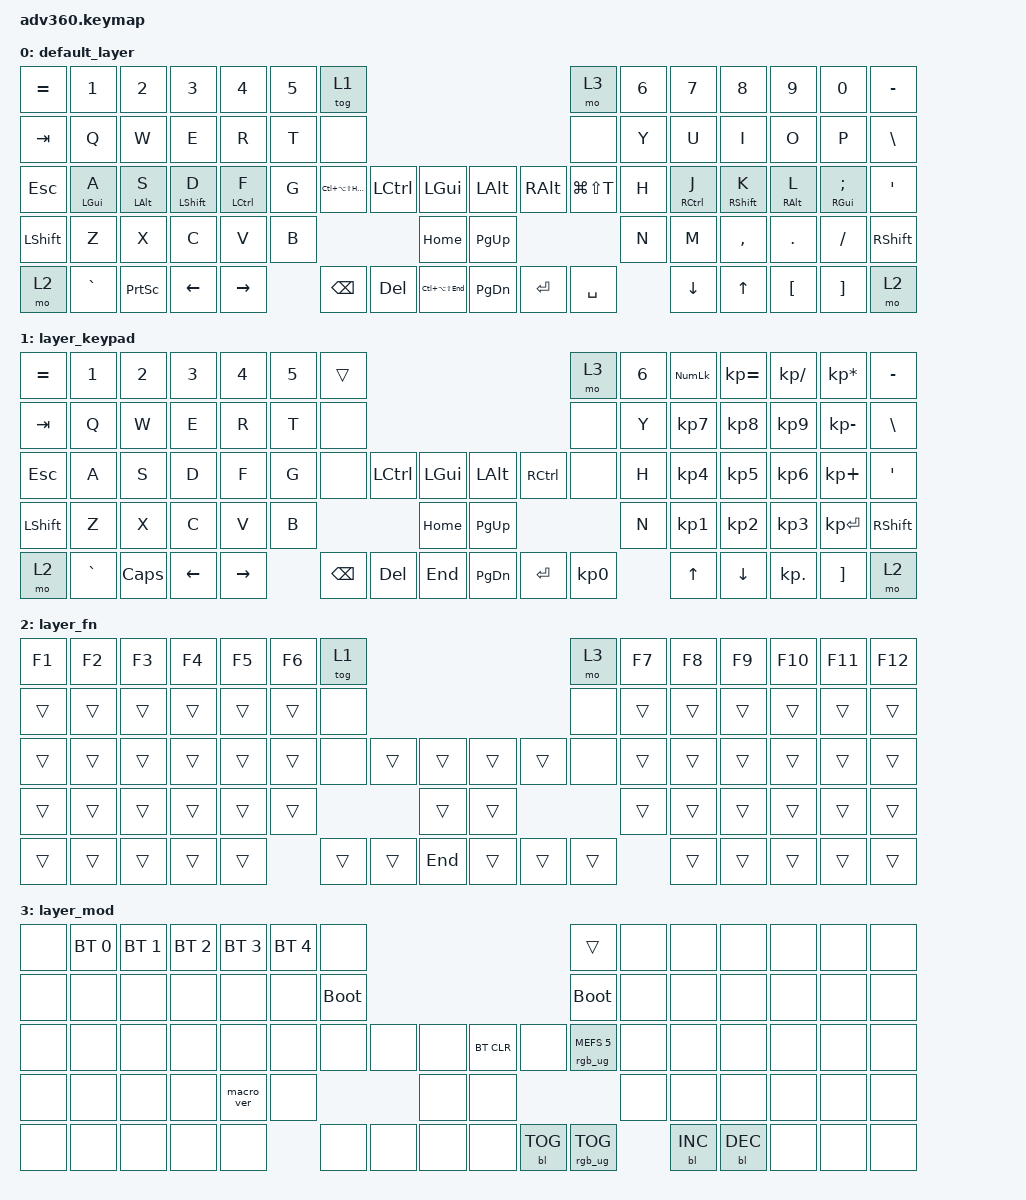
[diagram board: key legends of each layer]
/*
 * Copyright (c) 2020 The ZMK Contributors
 *
 * SPDX-License-Identifier: MIT
 */
/* THIS FILE WAS GENERATED!
 *
 * This file was generated automatically. You may or may not want to
 * edit it directly.
 */

#include <behaviors.dtsi>
#include <dt-bindings/zmk/backlight.h>
#include <dt-bindings/zmk/bt.h>
#include <dt-bindings/zmk/keys.h>
#include <dt-bindings/zmk/rgb.h>

/ {
    behaviors {
        #include "macros.dtsi"
    #include "version.dtsi"

        hm: homerow_mods {
            compatible = "zmk,behavior-hold-tap";
            label = "HOMEROW_MODS";
            #binding-cells = <2>;
            tapping-term-ms = <400>;
            quick_tap_ms = <(-1)>;
            flavor = "tap-preferred";
            bindings = <&kp>, <&kp>;
        };
    };

    keymap {
        compatible = "zmk,keymap";

        default_layer {
            bindings = <
&kp EQUAL  &kp N1          &kp N2           &kp N3       &kp N4       &kp N5  &tog 1                                                       &mo 3      &kp N6  &kp N7       &kp N8       &kp N9      &kp N0              &kp MINUS
&kp TAB    &kp Q           &kp W            &kp E        &kp R        &kp T   &none                                                        &none      &kp Y   &kp U        &kp I        &kp O       &kp P               &kp BSLH
&kp ESC    &hm LEFT_GUI A  &hm LALT S       &hm LSHFT D  &hm LCTRL F  &kp G   &kp LC(LA(LS(HOME)))     &kp LCTRL  &kp LGUI          &kp LALT   &kp RALT   &kp LG(LS(T))  &kp H   &hm RCTRL J  &hm RSHFT K  &hm RALT L  &hm RGUI SEMICOLON  &kp SQT
&kp LSHFT  &kp Z           &kp X            &kp C        &kp V        &kp B                        &kp HOME          &kp PG_UP                        &kp N   &kp M        &kp COMMA    &kp DOT     &kp FSLH            &kp RSHFT
&mo 2      &kp GRAVE       &kp PRINTSCREEN  &kp LEFT     &kp RIGHT            &kp BSPC  &kp DEL    &kp LC(LA(LS(END)))  &kp PG_DN  &kp ENTER  &kp SPACE          &kp DOWN     &kp UP       &kp LBKT    &kp RBKT            &mo 2
            >;
        };

        layer_keypad {
            bindings = <
&kp EQUAL  &kp N1     &kp N2    &kp N3    &kp N4     &kp N5  &trans                                                   &mo 3      &kp N6  &kp KP_NUM  &kp KP_EQUAL  &kp KP_DIVIDE  &kp KP_MULTIPLY  &kp MINUS
&kp TAB    &kp Q      &kp W     &kp E     &kp R      &kp T   &none                                                    &none      &kp Y   &kp KP_N7   &kp KP_N8     &kp KP_N9      &kp KP_MINUS     &kp BSLH
&kp ESC    &kp A      &kp S     &kp D     &kp F      &kp G   &none     &kp LCTRL  &kp LGUI      &kp LALT   &kp RCTRL  &none      &kp H   &kp KP_N4   &kp KP_N5     &kp KP_N6      &kp KP_PLUS      &kp SQT
&kp LSHFT  &kp Z      &kp X     &kp C     &kp V      &kp B                        &kp HOME      &kp PG_UP                        &kp N   &kp KP_N1   &kp KP_N2     &kp KP_N3      &kp KP_ENTER     &kp RSHFT
&mo 2      &kp GRAVE  &kp CAPS  &kp LEFT  &kp RIGHT          &kp BSPC  &kp DEL    &kp END       &kp PG_DN  &kp ENTER  &kp KP_N0          &kp UP      &kp DOWN      &kp KP_DOT     &kp RBKT         &mo 2
            >;
        };

        layer_fn {
            bindings = <
&kp F1  &kp F2  &kp F3  &kp F4  &kp F5  &kp F6  &tog 1                                      &mo 3   &kp F7  &kp F8  &kp F9  &kp F10  &kp F11  &kp F12
&trans  &trans  &trans  &trans  &trans  &trans  &none                                       &none   &trans  &trans  &trans  &trans   &trans   &trans
&trans  &trans  &trans  &trans  &trans  &trans  &none   &trans  &trans      &trans  &trans  &none   &trans  &trans  &trans  &trans   &trans   &trans
&trans  &trans  &trans  &trans  &trans  &trans                  &trans      &trans                  &trans  &trans  &trans  &trans   &trans   &trans
&trans  &trans  &trans  &trans  &trans          &trans  &trans  &kp END      &trans  &trans  &trans          &trans  &trans  &trans   &trans   &trans
            >;
        };

        layer_mod {
            bindings = <
&none  &bt BT_SEL 0  &bt BT_SEL 1  &bt BT_SEL 2  &bt BT_SEL 3  &bt BT_SEL 4  &none                                                  &trans                  &none  &none       &none       &none  &none  &none
&none  &none         &none         &none         &none         &none         &bootloader                                            &bootloader             &none  &none       &none       &none  &none  &none
&none  &none         &none         &none         &none         &none         &none        &none  &none      &bt BT_CLR  &none       &rgb_ug RGB_MEFS_CMD 5  &none  &none       &none       &none  &none  &none
&none  &none         &none         &none         &macro_ver    &none                             &none      &none                                           &none  &none       &none       &none  &none  &none
&none  &none         &none         &none         &none                       &none        &none  &none      &none       &bl BL_TOG  &rgb_ug RGB_TOG                &bl BL_INC  &bl BL_DEC  &none  &none  &none
            >;
        };
    };
};
